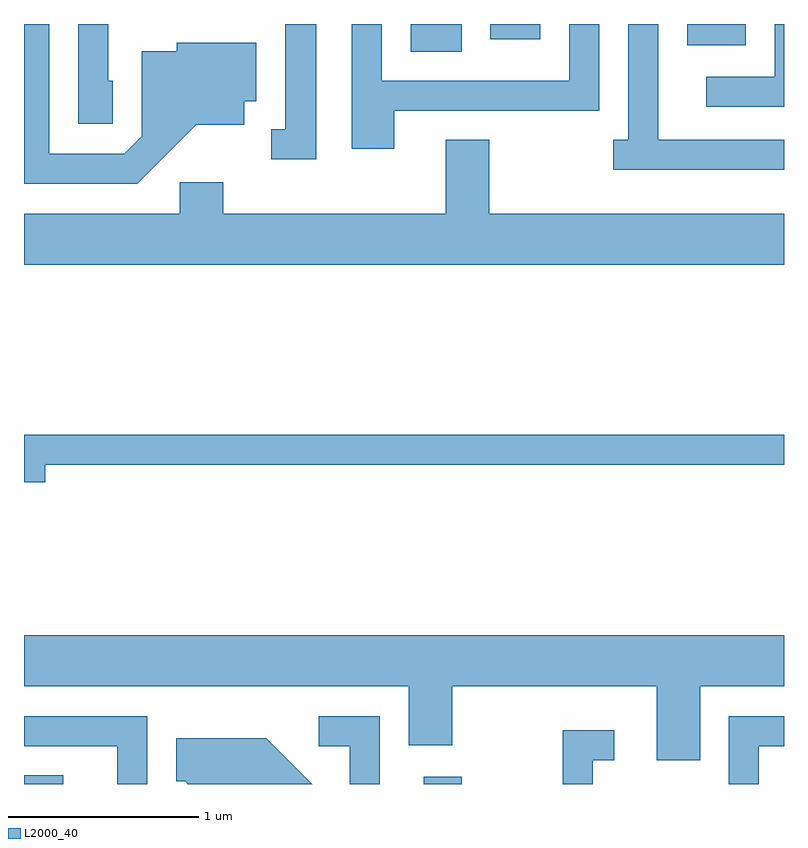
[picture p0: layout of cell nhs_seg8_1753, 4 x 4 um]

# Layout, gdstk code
import gdstk
lib = gdstk.Library(unit=1e-6, precision=1e-09)
def R(c, l, rs):  # rectangles x0, y0, x1, y1
    for r in rs: c.add(gdstk.rectangle(r[:2], r[2:], *l))
def P(c, l, *ps):  # polygons
    for p in ps: c.add(gdstk.Polygon(p, *l))
L2000_40 = (2000, 40)

nhs_seg8_1753 = lib.new_cell('nhs_seg8_1753')
R(nhs_seg8_1753, L2000_40, [(237.611,1840.342,237.818,1840.389), (239.716,1840.342,239.914,1840.379), (239.646,1844.196,239.914,1844.342), (241.101,1844.231,241.409,1844.342), (240.066,1844.261,240.329,1844.342)])
P(nhs_seg8_1753, L2000_40, [(239.559,1843.886),(240.639,1843.886),(240.639,1844.342),(240.481,1844.342),(240.481,1844.044),(239.494,1844.044),(239.494,1844.342),(239.336,1844.342),(239.336,1843.686),(239.559,1843.686)],
  [(238.079,1844.044),(238.054,1844.044),(238.054,1844.342),(237.896,1844.342),(237.896,1843.816),(238.079,1843.816)],
  [(239.149,1844.342),(238.986,1844.342),(238.986,1843.789),(238.913,1843.789),(238.913,1843.631),(239.149,1843.631)],
  [(238.517,1843.811),(238.769,1843.811),(238.769,1843.936),(238.834,1843.936),(238.834,1844.244),(238.416,1844.244),(238.416,1844.199),(238.231,1844.199),(238.231,1843.752),(238.139,1843.659),(237.744,1843.659),(237.744,1844.342),(237.611,1844.342),(237.611,1843.501),(238.207,1843.501)],
  [(241.611,1844.342),(241.561,1844.342),(241.561,1844.064),(241.203,1844.064),(241.203,1843.906),(241.611,1843.906)],
  [(241.611,1843.734),(240.949,1843.734),(240.949,1844.342),(240.791,1844.342),(240.791,1843.734),(240.713,1843.734),(240.713,1843.576),(241.611,1843.576)],
  [(241.611,1843.344),(240.059,1843.344),(240.059,1843.734),(239.831,1843.734),(239.831,1843.344),(238.659,1843.344),(238.659,1843.509),(238.431,1843.509),(238.431,1843.344),(237.611,1843.344),(237.611,1843.076),(241.611,1843.076)],
  [(237.724,1842.021),(241.611,1842.021),(241.611,1842.179),(237.611,1842.179),(237.611,1841.931),(237.724,1841.931)],
  [(241.169,1840.856),(241.611,1840.856),(241.611,1841.124),(237.611,1841.124),(237.611,1840.856),(239.636,1840.856),(239.636,1840.546),(239.864,1840.546),(239.864,1840.856),(240.941,1840.856),(240.941,1840.466),(241.169,1840.466)],
  [(241.479,1840.541),(241.611,1840.541),(241.611,1840.699),(241.321,1840.699),(241.321,1840.342),(241.479,1840.342)],
  [(238.259,1840.699),(237.611,1840.699),(237.611,1840.541),(238.101,1840.541),(238.101,1840.342),(238.259,1840.342)],
  [(239.484,1840.699),(239.163,1840.699),(239.163,1840.541),(239.326,1840.541),(239.326,1840.342),(239.484,1840.342)],
  [(240.604,1840.466),(240.718,1840.466),(240.718,1840.624),(240.446,1840.624),(240.446,1840.342),(240.604,1840.342)],
  [(238.887,1840.584),(238.411,1840.584),(238.411,1840.356),(238.459,1840.356),(238.473,1840.342),(239.129,1840.342)])

lib.write_gds('nhs_seg8_1753.gds')
